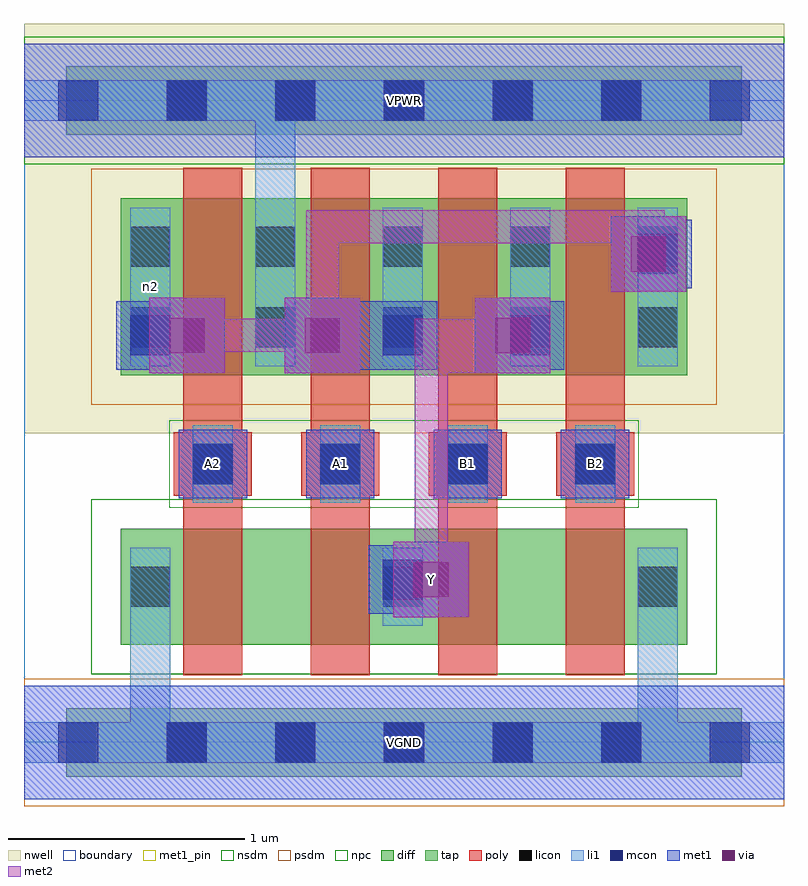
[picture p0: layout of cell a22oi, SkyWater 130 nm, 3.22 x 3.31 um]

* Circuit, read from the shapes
.subckt a22oi A1 A2 B1 B2 VGND VPWR Y n2
XM1 n1 A2 VGND VGND sky130_fd_pr__nfet_01v8 w=0.49 l=0.25
XM2 Y A1 n1 VGND sky130_fd_pr__nfet_01v8 w=0.49 l=0.25
XM3 n3 B1 Y VGND sky130_fd_pr__nfet_01v8 w=0.49 l=0.25
XM4 VGND B2 n3 VGND sky130_fd_pr__nfet_01v8 w=0.49 l=0.25
XM5 VPWR A2 n2 VPWR sky130_fd_pr__pfet_01v8 w=0.75 l=0.25
XM6 n2 A1 VPWR VPWR sky130_fd_pr__pfet_01v8 w=0.75 l=0.25
XM7 Y B1 n2 VPWR sky130_fd_pr__pfet_01v8 w=0.75 l=0.25
XM8 n2 B2 Y VPWR sky130_fd_pr__pfet_01v8 w=0.75 l=0.25
.ends

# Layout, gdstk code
import gdstk
lib = gdstk.Library(unit=1e-6, precision=1e-09)
def R(c, l, rs):  # rectangles x0, y0, x1, y1
    for r in rs: c.add(gdstk.rectangle(r[:2], r[2:], *l))
def A(c, l, x, y, w, h, nx, ny, dx, dy):  # array of equal rectangles
    R(c, l, [(x+i*dx, y+j*dy, x+i*dx+w, y+j*dy+h) for i in range(nx) for j in range(ny)])
nwell = (64, 20)
diff = (65, 20)
tap = (65, 44)
poly = (66, 20)
licon = (66, 44)
li1 = (67, 20)
mcon = (67, 44)
met1_pin = (68, 16)
met1 = (68, 20)
via = (68, 44)
met2 = (69, 20)
nsdm = (93, 44)
psdm = (94, 20)
npc = (95, 20)
boundary = (235, 4)

a22oi = lib.new_cell('a22oi')
R(a22oi, nwell, [(0,1.31,3.22,3.045)])
R(a22oi, diff, [(0.41,0.415,2.81,0.905), (0.41,1.555,2.81,2.305)])
R(a22oi, tap, [(0.18,-0.145,3.04,0.145), (0.18,2.575,3.04,2.865)])
A(a22oi, poly, 0.675, 0.285, 0.25, 2.15, 4, 1, 0.54, 0)
A(a22oi, poly, 0.635, 1.045, 0.33, 0.27, 4, 1, 0.54, 0)
A(a22oi, licon, 0.605, -0.085, 0.17, 0.17, 5, 2, 0.46, 2.72)
A(a22oi, licon, 0.715, 1.095, 0.17, 0.17, 4, 1, 0.54, 0)
A(a22oi, licon, 0.98, 1.675, 0.17, 0.17, 4, 2, 0.54, 0.34)
R(a22oi, licon, [(0.45,0.575,0.62,0.745), (1.52,0.575,1.69,0.745), (2.6,0.575,2.77,0.745), (0.45,1.675,0.62,1.845), (0.45,2.015,0.62,2.185)])
A(a22oi, li1, 0.715, 1.015, 0.17, 0.33, 4, 1, 0.54, 0)
A(a22oi, li1, 0.98, 1.595, 0.17, 0.67, 4, 1, 0.54, 0)
R(a22oi, li1, [(0,-0.085,3.22,0.085), (0.45,-0.085,0.62,0.825), (2.6,-0.085,2.77,0.825), (0.45,0.495,0.62,0.825), (1.52,0.495,1.69,0.825), (2.6,0.495,2.77,0.825), (0.45,1.595,0.62,2.265), (0.98,1.595,1.15,2.805), (0,2.635,3.22,2.805)])
A(a22oi, mcon, 0.145, -0.085, 0.17, 0.17, 7, 2, 0.46, 2.72)
A(a22oi, mcon, 0.715, 1.095, 0.17, 0.17, 4, 1, 0.54, 0)
R(a22oi, mcon, [(1.52,0.605,1.69,0.775), (0.45,1.64,0.62,1.81), (1.52,1.64,1.69,1.81), (2.06,1.64,2.23,1.81), (2.6,1.985,2.77,2.155)])
A(a22oi, met1_pin, 0.655, 1.035, 0.29, 0.29, 4, 1, 0.54, 0)
R(a22oi, met1_pin, [(0,-0.24,3.22,0.24), (1.565,0.53,1.885,0.85), (0,2.48,3.22,2.96)])
A(a22oi, met1, 0.655, 1.035, 0.29, 0.29, 4, 1, 0.54, 0)
R(a22oi, met1, [(0,-0.24,3.22,0.24), (1.565,0.53,1.885,0.85), (1.46,0.545,1.75,0.835), (1.535,0.62,1.795,0.76), (0.53,1.565,0.85,1.885), (1.105,1.565,1.425,1.885), (1.91,1.565,2.23,1.885), (0.39,1.58,0.68,1.87), (1.425,1.58,1.46,1.87), (1.46,1.58,1.75,1.87), (2,1.58,2.29,1.87), (0.465,1.655,0.76,1.795), (1.195,1.655,1.565,1.795), (1.425,1.655,1.675,1.795), (2,1.655,2.215,1.795), (2.485,1.91,2.805,2.23), (2.54,1.925,2.83,2.215), (2.575,2,2.755,2.14), (0,2.48,3.22,2.96)])
R(a22oi, via, [(1.65,0.615,1.8,0.765), (0.615,1.65,0.765,1.8), (1.19,1.65,1.34,1.8), (1.995,1.65,2.145,1.8), (2.57,1.995,2.72,2.145)])
R(a22oi, met2, [(1.565,0.53,1.885,0.85), (1.655,0.62,1.795,1.795), (0.53,1.565,0.85,1.885), (1.105,1.565,1.425,1.885), (1.795,1.565,1.91,1.795), (1.91,1.565,2.23,1.885), (0.62,1.655,1.335,1.795), (1.195,1.655,1.335,2.255), (1.655,1.655,2.14,1.795), (2.485,1.91,2.805,2.23), (2.575,2,2.715,2.255), (1.195,2.115,2.715,2.255)])
R(a22oi, nsdm, [(0.285,0.29,2.935,1.03), (0,2.45,3.22,2.99)])
R(a22oi, psdm, [(0,-0.27,3.22,0.27), (0.285,1.43,2.935,2.43)])
R(a22oi, npc, [(0.615,0.995,2.605,1.365)])
R(a22oi, boundary, [(0,0,3.22,2.72)])
a22oi.add(gdstk.Label('n2', (0.535,1.93), layer=67, texttype=5))
a22oi.add(gdstk.Label('A1', (1.34,1.18), layer=68, texttype=5))
a22oi.add(gdstk.Label('A2', (0.8,1.18), layer=68, texttype=5))
a22oi.add(gdstk.Label('B1', (1.88,1.18), layer=68, texttype=5))
a22oi.add(gdstk.Label('B2', (2.42,1.18), layer=68, texttype=5))
a22oi.add(gdstk.Label('Y', (1.725,0.69), layer=68, texttype=5))
a22oi.add(gdstk.Label('VPWR', (1.61,2.72), layer=68, texttype=5))
a22oi.add(gdstk.Label('VGND', (1.61,0), layer=68, texttype=5))
a22oi.add(gdstk.Label('A1', (1.34,1.18), layer=68, texttype=16))
a22oi.add(gdstk.Label('A2', (0.8,1.18), layer=68, texttype=16))
a22oi.add(gdstk.Label('B1', (1.88,1.18), layer=68, texttype=16))
a22oi.add(gdstk.Label('B2', (2.42,1.18), layer=68, texttype=16))
a22oi.add(gdstk.Label('Y', (1.725,0.69), layer=68, texttype=16))
a22oi.add(gdstk.Label('VPWR', (1.61,2.72), layer=68, texttype=16))
a22oi.add(gdstk.Label('VGND', (1.61,0), layer=68, texttype=16))

lib.write_gds('a22oi.gds')
